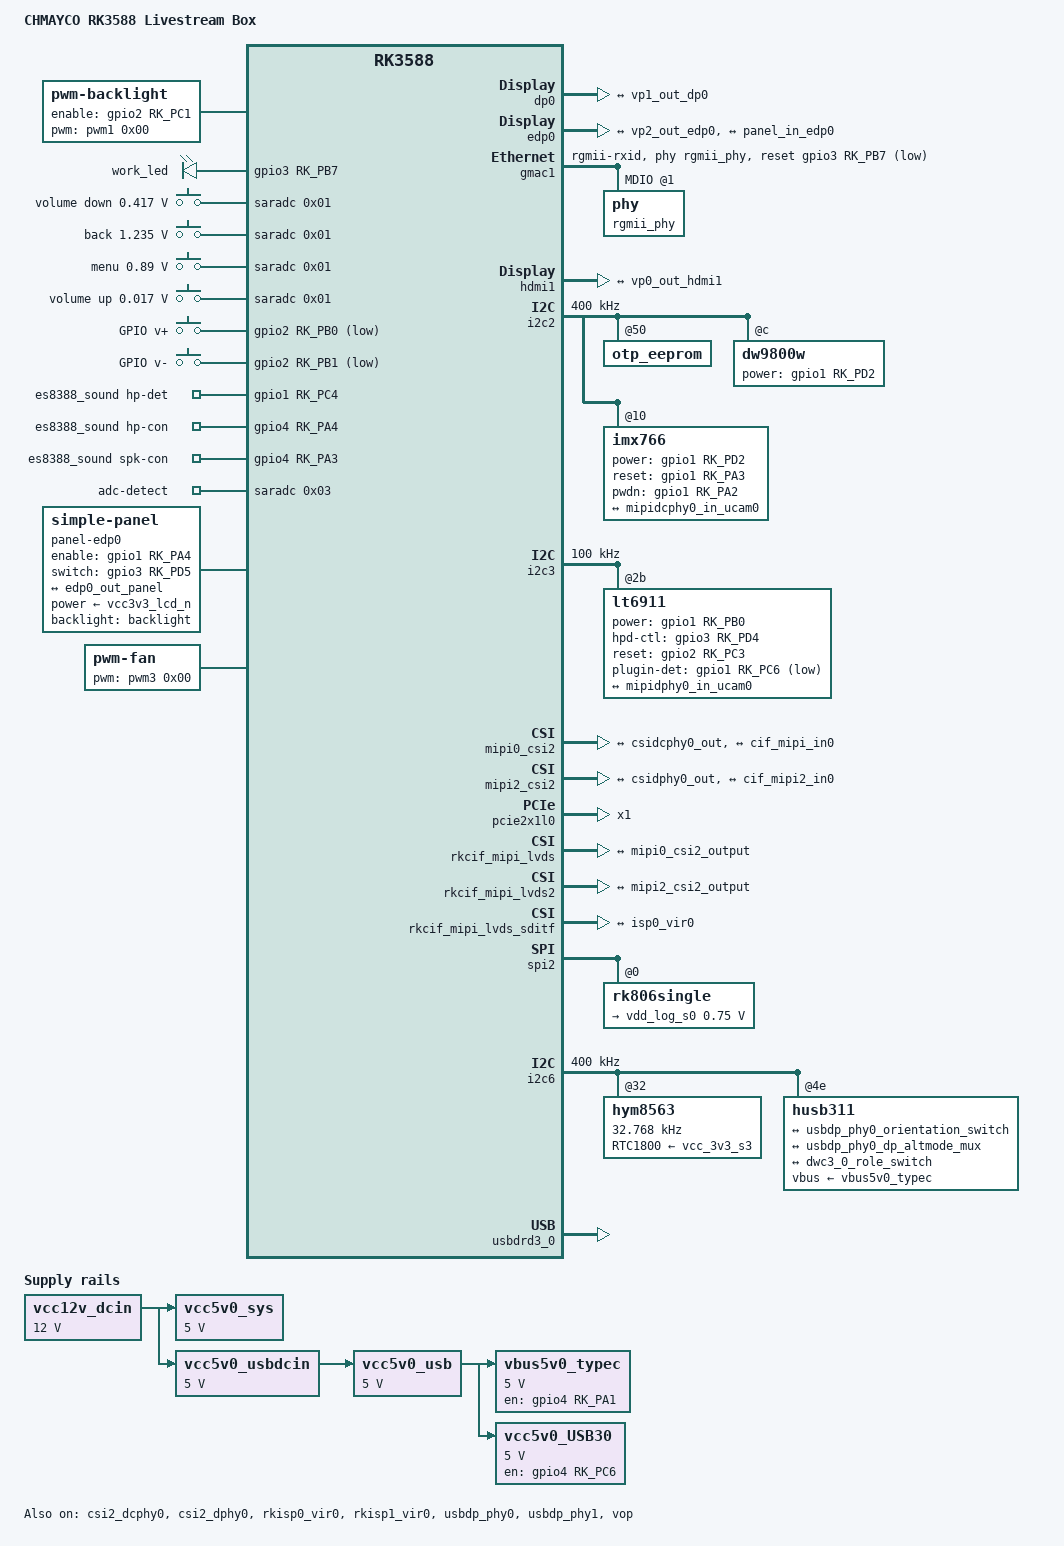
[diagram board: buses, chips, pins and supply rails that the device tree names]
// SPDX-License-Identifier: (GPL-2.0+ OR MIT)
/*
 * RK3588 CHMAYCO (智美科) livestream box -- device tree.
 *
 * Board: CHMAYCO / 智美科 RK3588 livestream unit (SoC model 22011211C).
 *
 * Reconstructed from the factory DTB (runtime /proc/device-tree export,
 * 1503 nodes / 267201 bytes) -- a Rockchip EVB7 reference derivative whose
 * compatible string is "rockchip,rk3588-evb7-lp4-v10".
 *
 * Only what differs from the SoC/EVB baseline is kept:
 *   - nodes this board enables
 *   - nodes whose pinctrl or supplies this board overrides
 *   - pinctrl groups actually referenced by those overrides
 * Everything else -- SoC defaults, disabled nodes, per-die OPP/PVTM tables,
 * power-controller and thermal definitions, Android bootargs -- comes from
 * rk3588.dtsi or is dropped, and is deliberately not repeated here.
 *
 * Recovery applied:
 *   pin cells     -> RK_Pxy / RK_FUNC_xx / &pcfg_xx
 *   gpio cells    -> RK_Pxy / GPIO_ACTIVE_xx
 *   power domains -> RK3588_PD_*
 *   key codes     -> KEY_*
 *   phandle refs  -> &label
 *   voltages / delays / lanes -> decimal
 *
 * Board peripherals: eDP + 2x MIPI DSI out, HDMI1 out, ES8388 codec,
 * GT9xx touch, HUSB311 Type-C PD, LT6911UXC HDMI-in, IMX766 + DW9800W,
 * HY8563 RTC, RK806 PMIC, PWM fan, eMMC A/B layout.
 *
 * Android 12, vendor 5.10 kernel.
 */

/dts-v1/;

#include <dt-bindings/gpio/gpio.h>
#include <dt-bindings/power/rk3588-power.h>
#include <dt-bindings/pwm/pwm.h>
#include <dt-bindings/pinctrl/rockchip.h>
#include <dt-bindings/input/linux-event-codes.h>
#include <dt-bindings/display/drm_mipi_dsi.h>
#include <dt-bindings/usb/pd.h>
#include "rk3588-evb7-lp4.dtsi"
#include "rk3588-linux.dtsi"

/ {
	model = "CHMAYCO RK3588 Livestream Box";
	compatible = "chmayco,rk3588-livestream", "rockchip,rk3588-evb7-lp4-v10", "rockchip,rk3588";

	backlight: backlight {
		compatible = "pwm-backlight";
		status = "okay";
		pwms = <&pwm1 0x00 0xf4240 0x00>;
		brightness-levels = <
			  0  20  20  21  21  22  22  23
			 23  24  24  25  25  26  26  27
			 27  28  28  29  29  30  30  31
			 31  32  32  33  33  34  34  35
			 35  36  36  37  37  38  38  39
			 40  41  42  43  44  45  46  47
			 48  49  50  51  52  53  54  55
			 56  57  58  59  60  61  62  63
			 64  65  66  67  68  69  70  71
			 72  73  74  75  76  77  78  79
			 80  81  82  83  84  85  86  87
			 88  89  90  91  92  93  94  95
			 96  97  98  99 100 101 102 103
			104 105 106 107 108 109 110 111
			112 113 114 115 116 117 118 119
			120 121 122 123 124 125 126 127
			128 129 130 131 132 133 134 135
			136 137 138 139 140 141 142 143
			144 145 146 147 148 149 150 151
			152 153 154 155 156 157 158 159
			160 161 162 163 164 165 166 167
			168 169 170 171 172 173 174 175
			176 177 178 179 180 181 182 183
			184 185 186 187 188 189 190 191
			192 193 194 195 196 197 198 199
			200 201 202 203 204 205 206 207
			208 209 210 211 212 213 214 215
			216 217 218 219 220 221 222 223
			224 225 226 227 228 229 230 231
			232 233 234 235 236 237 238 239
			240 241 242 243 244 245 246 247
			248 249 250 251 252 253 254 255
		>;
		enable-gpios = <&gpio2 RK_PC1 GPIO_ACTIVE_HIGH>;
		pinctrl-names = "default";
		default-brightness-level = <200>;
		pinctrl-0 = <&backlight_en>;
	};
	leds: leds {
		compatible = "gpio-leds";

		work_led: work {
			linux,default-trigger = "heartbeat";
			gpios = <&gpio3 RK_PB7 GPIO_ACTIVE_HIGH>;
		};
	};
	adc_keys: adc-keys {
		compatible = "adc-keys";
		io-channel-names = "buttons";
		keyup-threshold-microvolt = <1800000>;
		io-channels = <&saradc 0x01>;
		poll-interval = <100>;

		vol-down-key {
			linux,code = <KEY_VOLUMEDOWN>;
			press-threshold-microvolt = <417000>;
			label = "volume down";
		};

		back-key {
			linux,code = <158>;	/* vendor key */
			press-threshold-microvolt = <1235000>;
			label = "back";
		};

		menu-key {
			linux,code = <139>;	/* vendor key */
			press-threshold-microvolt = <890000>;
			label = "menu";
		};

		vol-up-key {
			linux,code = <KEY_VOLUMEUP>;
			press-threshold-microvolt = <17000>;
			label = "volume up";
		};
	};
	dp1_sound: dp1-sound {
		compatible = "rockchip,hdmi";
		status = "disabled";
		rockchip,mclk-fs = <512>;
		rockchip,jack-det;
		rockchip,codec = <&dp1 &gic>;
		rockchip,card-name = "rockchip,dp1";
		rockchip,cpu = <&spdif_tx5>;
	};
	rkisp_unite: rkisp-unite@fdcb0000 {
		compatible = "rockchip,rk3588-rkisp-unite";
		status = "disabled";
	};
	rkisp_unite_mmu: rkisp-unite-mmu@fdcb7f00 {
		compatible = "rockchip,iommu-v2";
		status = "disabled";
		rockchip,disable-mmu-reset;
	};
	gpio_keys: gpio-keys {
		compatible = "gpio-keys";
		autorepeat;
		pinctrl-names = "default";
		pinctrl-0 = <&gpiobtn>;

		KEY_up {
			linux,code = <KEY_VOLUMEUP>;
			label = "GPIO v+";
			gpios = <&gpio2 RK_PB0 GPIO_ACTIVE_LOW>;
			debounce-interval = <0x64>;
		};

		KEY_dn {
			linux,code = <KEY_VOLUMEDOWN>;
			label = "GPIO v-";
			gpios = <&gpio2 RK_PB1 GPIO_ACTIVE_LOW>;
			debounce-interval = <0x64>;
		};
	};
	vcc12v_dcin: vcc12v-dcin {
		compatible = "regulator-fixed";
		regulator-boot-on;
		regulator-min-microvolt = <12000000>;
		regulator-always-on;
		regulator-name = "vcc12v_dcin";
		regulator-max-microvolt = <12000000>;
	};
	vbus5v0_typec: vbus5v0-typec {
		compatible = "regulator-fixed";
		gpio = <&gpio4 RK_PA1 GPIO_ACTIVE_HIGH>;
		regulator-min-microvolt = <5000000>;
		vin-supply = <&vcc5v0_usb>;
		enable-active-high;
		regulator-name = "vbus5v0_typec";
		pinctrl-names = "default";
		pinctrl-0 = <&typec5v_pwren>;
		regulator-max-microvolt = <5000000>;
	};
	hdmi1_sound: hdmi1-sound {
		compatible = "rockchip,hdmi";
		status = "okay";
		rockchip,mclk-fs = <128>;
		rockchip,jack-det;
		rockchip,codec = <&hdmi1>;
		rockchip,card-name = "rockchip-hdmi1";
		rockchip,cpu = <&i2s6_8ch>;
	};
	es8388_sound: es8388-sound {
		compatible = "rockchip,multicodecs-card";
		status = "okay";
		rockchip,mclk-fs = <256>;
		io-channel-names = "adc-detect";
		keyup-threshold-microvolt = <1800000>;
		hp-det-gpio = <&gpio1 RK_PC4 GPIO_ACTIVE_HIGH>;
		rockchip,audio-routing = 
			"Headphone", "LOUT1", 
			"Headphone", "ROUT1", 
			"Speaker", "LOUT2", 
			"Speaker", "ROUT2", 
			"Headphone", "Headphone Power", 
			"Headphone", "Headphone Power", 
			"Speaker", "Speaker Power", 
			"Speaker", "Speaker Power", 
			"LINPUT1", "Main Mic", 
			"LINPUT2", "Main Mic", 
			"RINPUT1", "Headset Mic", 
			"RINPUT2", "Headset Mic";
		hp-con-gpio = <&gpio4 RK_PA4 GPIO_ACTIVE_HIGH>;
		spk-con-gpio = <&gpio4 RK_PA3 GPIO_ACTIVE_HIGH>;
		rockchip,codec = <&es8388>;
		rockchip,format = "i2s";
		io-channels = <&saradc 0x03>;
		rockchip,card-name = "rockchip-es8388";
		pinctrl-names = "default";
		pinctrl-0 = <&hp_det>;
		rockchip,cpu = <&i2s0_8ch>;
		poll-interval = <100>;

		play-pause-key {
			linux,code = <KEY_PLAYPAUSE>;
			press-threshold-microvolt = <2000>;
			label = "playpause";
		};
	};
	vcc5v0_sys: vcc5v0-sys {
		compatible = "regulator-fixed";
		regulator-boot-on;
		regulator-min-microvolt = <5000000>;
		vin-supply = <&vcc12v_dcin>;
		regulator-always-on;
		regulator-name = "vcc5v0_sys";
		regulator-max-microvolt = <5000000>;
	};
	vcc5v0_USB30: vcc5v0-USB30 {
		compatible = "regulator-fixed";
		regulator-boot-on;
		gpio = <&gpio4 RK_PC6 GPIO_ACTIVE_HIGH>;
		regulator-min-microvolt = <5000000>;
		vin-supply = <&vcc5v0_usb>;
		enable-active-high;
		regulator-always-on;
		regulator-name = "vcc5v0_USB30";
		pinctrl-names = "default";
		pinctrl-0 = <&vcc5v0_USB30_en>;
		regulator-max-microvolt = <5000000>;
	};
	rk_headset: rk-headset {
		compatible = "rockchip_headset";
		status = "disabled";
		io-channels = <&saradc 0x03>;
		pinctrl-names = "default";
		pinctrl-0 = <&hp_det>;
		headset_gpio = <&gpio1 RK_PD5 GPIO_ACTIVE_LOW>;
	};
	vcc5v0_usbdcin: vcc5v0-usbdcin {
		compatible = "regulator-fixed";
		regulator-boot-on;
		regulator-min-microvolt = <5000000>;
		vin-supply = <&vcc12v_dcin>;
		regulator-always-on;
		regulator-name = "vcc5v0_usbdcin";
		regulator-max-microvolt = <5000000>;
	};
	panel-edp0 {
		compatible = "simple-panel";
		backlight = <&backlight>;
		unprepare-delay-ms = <0x78>;
		enable-delay-ms = <0x78>;
		disable-delay-ms = <120>;
		prepare-delay-ms = <0x78>;
		enable-gpios = <&gpio1 RK_PA4 GPIO_ACTIVE_HIGH>;
		switch-gpios = <&gpio3 RK_PD5 GPIO_ACTIVE_HIGH>;
		power-supply = <&vcc3v3_lcd_n>;

		port {

			panel_in_edp0: endpoint {
				remote-endpoint = <&edp0_out_panel>;
			};
		};

		panel-timing {
			vback-porch = <71>;
			hsync-active = <0x00>;
			de-active = <0x00>;
			vfront-porch = <3>;
			hactive = <0x780>;
			clock-frequency = <152570000>;
			vsync-active = <0x00>;
			vactive = <1080>;
			vsync-len = <6>;
			hfront-porch = <48>;
			hsync-len = <32>;
			hback-porch = <192>;
			pixelclk-active = <0x00>;
		};
	};
	reserved-memory {
		ranges;

		drm-logo@00000000 {
		};

		drm-cubic-lut@00000000 {
		};

		cma {
			size = <0x00 0x800000>;
			reusable;
			linux,cma-default;
		};
	};
	vcc5v0_usb: vcc5v0-usb {
		compatible = "regulator-fixed";
		regulator-boot-on;
		regulator-min-microvolt = <5000000>;
		vin-supply = <&vcc5v0_usbdcin>;
		regulator-always-on;
		regulator-name = "vcc5v0_usb";
		regulator-max-microvolt = <5000000>;
	};
	fan: pwm-fan {
		compatible = "pwm-fan";
		#cooling-cells = <2>;
		pwms = <&pwm3 0x00 0xc350 0x00>;
	};
	hdmi0_sound: hdmi0-sound {
		compatible = "rockchip,hdmi";
		status = "disabled";
		rockchip,mclk-fs = <128>;
		rockchip,jack-det;
		rockchip,codec = <&hdmi0>;
		rockchip,card-name = "rockchip-hdmi0";
		rockchip,cpu = <&i2s5_8ch>;
	};
	dp0_sound: dp0-sound {
		compatible = "rockchip,hdmi";
		status = "okay";
		rockchip,mclk-fs = <512>;
		rockchip,jack-det;
		rockchip,codec = <&dp0 &gic>;
		rockchip,card-name = "rockchip,dp0";
		rockchip,cpu = <&spdif_tx2>;
	};
};

&csi2_dcphy0 {
		status = "okay";

		ports {

			port@0 {

				mipidcphy0_in_ucam0: endpoint@0 {
					data-lanes = <1 2 3>;
					remote-endpoint = <&imx766_out>;
					bus-type = <1>;
				};
			};

			port@1 {

				csidcphy0_out: endpoint@0 {
					remote-endpoint = <&mipi0_csi2_input>;
				};
			};
		};
};

&csi2_dphy0 {
		status = "okay";
		rockchip,hw = <&csi2_dphy0_hw>;

		ports {

			port@0 {

				mipidphy0_in_ucam0: endpoint@1 {
					data-lanes = <1 2 3 4>;
					remote-endpoint = <&lt6911_out0>;
				};
			};

			port@1 {

				csidphy0_out: endpoint@0 {
					remote-endpoint = <&mipi2_csi2_input>;
				};
			};
		};
};

&dp0 {
		status = "okay";

		ports {

			port@0 {
				endpoint@1 {
					status = "okay";
					remote-endpoint = <&vp1_out_dp0>;
				};
			};
		};
};

&edp0 {
		status = "okay";
		force-hpd;

		ports {

			port@0 {
				endpoint@2 {
					status = "okay";
					remote-endpoint = <&vp2_out_edp0>;
				};
			};

			port@1 {

				edp0_out_panel: endpoint {
					remote-endpoint = <&panel_in_edp0>;
				};
			};
		};
};

&gmac1 {
		snps,reset-gpio = <&gpio3 RK_PB7 GPIO_ACTIVE_LOW>;
		status = "okay";
		phy-handle = <&rgmii_phy>;
		local-mac-address = [aa 64 5f 7a a0 21];
		snps,mixed-burst;
		snps,reset-active-low;
		snps,mtl-tx-config = <&gmac1_mtl_tx_setup>;
		snps,tso;
		clock_in_out = "output";
		snps,mtl-rx-config = <&gmac1_mtl_rx_setup>;
		snps,axi-config = <&gmac1_stmmac_axi_setup>;
		rockchip,php_grf = <&php_grf>;
		snps,reset-delays-us = <0x00 0x4e20 0x186a0>;
		tx_delay = <2>;
		pinctrl-names = "default";
		pinctrl-0 = <&gmac1_miim &gmac1_tx_bus2 &gmac1_rx_bus2 &gmac1_rgmii_clk &gmac1_rgmii_bus>;
		phy-mode = "rgmii-rxid";

		mdio {

			rgmii_phy: phy@1 {
			};
		};

		tx-queues-config {
			snps,tx-queues-to-use = <2>;

			queue1 {
			};

			queue0 {
			};
		};

		stmmac-axi-config {
			snps,wr_osr_lmt = <4>;
			snps,blen = <0x00 0x00 0x00 0x00 0x10 0x08 0x04>;
			snps,rd_osr_lmt = <8>;
		};

		rx-queues-config {
			snps,rx-queues-to-use = <2>;

			queue1 {
			};

			queue0 {
			};
		};
};

&hdmi1 {
		status = "okay";
		rockchip,vo1_grf = <&vo1_grf>;
		enable-gpios = <&gpio4 RK_PB2 GPIO_ACTIVE_HIGH>;
		pinctrl-names = "default";
		pinctrl-0 = <&hdmim2_tx1_cec &hdmim0_tx1_hpd &hdmim1_tx1_scl &hdmim1_tx1_sda>;

		ports {

			port@0 {

				endpoint@0 {
					status = "okay";
					remote-endpoint = <&vp0_out_hdmi1>;
				};
			};
		};
};

&i2c2 {
		status = "okay";
		clock-frequency = <400000>;
		pinctrl-names = "default";
		pinctrl-0 = <&i2c2m4_xfer>;

		otp_eeprom: otp_eeprom@50 {
			status = "okay";
		};

		dw9800w: dw9800w@c {
			rockchip,vcm-rated-current = <805>;
			rockchip,vcm-step-mode = <1>;
			status = "okay";
			rockchip,vcm-start-current = <205>;
			rockchip,camera-module-index = <0>;
			power-gpios = <&gpio1 RK_PD2 GPIO_ACTIVE_HIGH>;
			rockchip,vcm-t-div = <1>;
			rockchip,vcm-max-current = <1023>;
			rockchip,camera-module-facing = "back";
			rockchip,vcm-t-src = <37>;
		};

		imx766: imx766@10 {
			status = "okay";
			lens-focus = <&dw9800w>;
			rockchip,camera-module-index = <0>;
			rockchip,camera-module-lens-name = "IR0147-50IRC-8M-F20";
			eeprom-ctrl = <&otp_eeprom>;
			rockchip,camera-module-name = "CMK-OT2022-PX1";
			power-gpios = <&gpio1 RK_PD2 GPIO_ACTIVE_HIGH>;
			rockchip,spd-id = <1>;
			reset-gpios = <&gpio1 RK_PA3 GPIO_ACTIVE_HIGH>;
			pinctrl-names = "default";
			rockchip,camera-module-facing = "back";
			pinctrl-0 = <&mipim0_camera1_clk>;
			pwdn-gpios = <&gpio1 RK_PA2 GPIO_ACTIVE_HIGH>;

			port {

				imx766_out: endpoint {
					data-lanes = <1 2 3>;
					remote-endpoint = <&mipidcphy0_in_ucam0>;
					bus-type = <1>;
				};
			};
		};
};

&i2c3 {
		status = "okay";
		clock-frequency = <100000>;
		pinctrl-names = "default";
		pinctrl-0 = <&i2c3m0_xfer>;

		lt6911: lt6911@2b {
			status = "okay";
			rockchip,camera-module-index = <0>;
			rockchip,camera-module-lens-name = "IR0147-50IRC-8M-F20";
			rockchip,camera-module-name = "CMK-OT2022-PX1";
			power-gpios = <&gpio1 RK_PB0 GPIO_ACTIVE_HIGH>;
			hpd-ctl-gpios = <&gpio3 RK_PD4 GPIO_ACTIVE_HIGH>;
			reset-gpios = <&gpio2 RK_PC3 GPIO_ACTIVE_HIGH>;
			pinctrl-names = "default";
			rockchip,camera-module-facing = "back";
			pinctrl-0 = <&lt6911_default>;
			plugin-det-gpios = <&gpio1 RK_PC6 GPIO_ACTIVE_LOW>;

			port {

				lt6911_out0: endpoint {
					data-lanes = <1 2 3 4>;
					remote-endpoint = <&mipidphy0_in_ucam0>;
				};
			};
		};
};

&mipi0_csi2 {
		status = "okay";

		ports {

			port@0 {

				mipi0_csi2_input: endpoint@1 {
					remote-endpoint = <&csidcphy0_out>;
				};
			};

			port@1 {

				mipi0_csi2_output: endpoint@0 {
					remote-endpoint = <&cif_mipi_in0>;
				};
			};
		};
};

&mipi2_csi2 {
		status = "okay";

		ports {

			port@0 {

				mipi2_csi2_input: endpoint@1 {
					remote-endpoint = <&csidphy0_out>;
				};
			};

			port@1 {

				mipi2_csi2_output: endpoint@0 {
					remote-endpoint = <&cif_mipi2_in0>;
				};
			};
		};
};

&pcie2x1l0 {
		bus-range = <0x20 0x2f>;
		status = "okay";
		linux,pci-domain = <3>;
		rockchip,pipe-grf = <&php_grf>;
		max-link-speed = <2>;
		interrupt-map-mask = <0x00 0x00 0x00 0x07>;
		interrupt-map = <0x00 0x00 0x00 0x01 0x1ad 0x00 0x00 0x00 0x00 0x02 0x1ad 0x01 0x00 0x00 0x00 0x03 0x1ad 0x02 0x00 0x00 0x00 0x04 0x1ad 0x03>;
		num-lanes = <1>;
		num-ib-windows = <8>;
		num-ob-windows = <8>;
		num-viewport = <4>;
		ranges = <0x800 0x00 0xf2000000 0x00 0xf2000000 0x00 0x100000 0x81000000 0x00 0xf2100000 0x00 0xf2100000 0x00 0x100000 0x82000000 0x00 0xf2200000 0x00 0xf2200000 0x00 0xe00000 0xc3000000 0x09 0x80000000 0x09 0x80000000 0x00 0x40000000>;
		msi-map = <0x2000 0xf9 0x2000 0x1000>;

		legacy-interrupt-controller {
			interrupt-controller;
		};
};

&rkcif_mipi_lvds {
		status = "okay";
		rockchip,hw = <&rkcif>;

		port {

			cif_mipi_in0: endpoint {
				remote-endpoint = <&mipi0_csi2_output>;
			};
		};
};

&rkcif_mipi_lvds2 {
		status = "okay";
		rockchip,hw = <&rkcif>;

		port {

			cif_mipi2_in0: endpoint {
				remote-endpoint = <&mipi2_csi2_output>;
			};
		};
};

&rkcif_mipi_lvds_sditf {
		status = "okay";
		rockchip,cif = <&rkcif_mipi_lvds>;

		port {

			mipi_lvds_sditf: endpoint {
				remote-endpoint = <&isp0_vir0>;
			};
		};
};

&rkisp0_vir0 {
		status = "okay";
		rockchip,hw = <&rkisp0>;

		port {

			isp0_vir0: endpoint@0 {
				remote-endpoint = <&mipi_lvds_sditf>;
			};
		};
};

&rkisp1_vir0 {
		status = "okay";
		rockchip,hw = <&rkisp1>;

		port {

			endpoint@0 {
				remote-endpoint = <&mipi_lvds_sditf>;
			};
		};
};

&spi2 {
	status = "okay";
	pinctrl-names = "default";
	pinctrl-0 = <&spi2m2_cs0 &spi2m2_pins>;

	rk806single@0 {
		/* 本机 PMIC 差异：reset-func 用默认 1；DVS 引脚需要下拉 */
		pinctrl-names = "default", "pmic-power-off";
		pinctrl-0 = <&pmic_pins &rk806_dvs1_null &rk806_dvs2_null &rk806_dvs3_null>;
		pinctrl-1 = <&rk806_dvs1_pwrdn>;
		/* 与 rk3588-rk806-single.dtsi 的差异项 */
		low_voltage_threshold = <3000>;
		shutdown_voltage_threshold = <2700>;
		shutdown_temperture_threshold = <160>;
		hotdie_temperture_threshold = <115>;

		pinctrl_rk806 {
			gpio-controller;
			#gpio-cells = <0x02>;
			rk806_dvs3_null: rk806_dvs3_null {
				function = "pin_fun0";
				pins = "gpio_pwrctrl3";
			};
			rk806_dvs3_rst {
				function = "pin_fun3";
				pins = "gpio_pwrctrl3";
			};
			rk806_dvs1_null: rk806_dvs1_null {
				function = "pin_fun0";
				pins = "gpio_pwrctrl2";
			};
			rk806_dvs1_slp {
				function = "pin_fun1";
				pins = "gpio_pwrctrl1";
			};
			rk806_dvs2_null: rk806_dvs2_null {
				function = "pin_fun0";
				pins = "gpio_pwrctrl2";
			};
			rk806_dvs2_rst {
				function = "pin_fun3";
				pins = "gpio_pwrctrl2";
			};
			rk806_dvs2_gpio {
				function = "pin_fun5";
				pins = "gpio_pwrctrl2";
			};
			rk806_dvs3_gpio {
				function = "pin_fun5";
				pins = "gpio_pwrctrl3";
			};
			rk806_dvs2_slp {
				function = "pin_fun1";
				pins = "gpio_pwrctrl2";
			};
			rk806_dvs1_pwrdn: rk806_dvs1_pwrdn {
				function = "pin_fun2";
				pins = "gpio_pwrctrl1";
			};
			rk806_dvs1_rst {
				function = "pin_fun3";
				pins = "gpio_pwrctrl1";
			};
			rk806_dvs3_dvs {
				function = "pin_fun4";
				pins = "gpio_pwrctrl3";
			};
			rk806_dvs3_pwrdn {
				function = "pin_fun2";
				pins = "gpio_pwrctrl3";
			};
			rk806_dvs2_dvs {
				function = "pin_fun4";
				pins = "gpio_pwrctrl2";
			};
			rk806_dvs3_slp {
				function = "pin_fun1";
				pins = "gpio_pwrctrl3";
			};
			rk806_dvs2_pwrdn {
				function = "pin_fun2";
				pins = "gpio_pwrctrl2";
			};
		};

		regulators {
			vdd_gpu_s0: vdd_gpu_mem_s0: DCDC_REG1 {
				regulator-enable-ramp-delay = <0>;
			};

			vdd_cpu_lit_s0: vdd_cpu_lit_mem_s0: DCDC_REG2 {
				/delete-property/ regulator-init-microvolt;
			};

			vdd_log_s0: DCDC_REG3 {
				regulator-max-microvolt = <750000>;
			};
		};
	};
};

&usbdp_phy0 {
		status = "okay";
		rockchip,usbdpphy-grf = <&usbdpphy0_grf>;
		rockchip,usb-grf = <&usb_grf>;
		sbu2-dc-gpios = <&gpio4 RK_PA7 GPIO_ACTIVE_HIGH>;
		svid = <0xff01>;
		orientation-switch;
		sbu1-dc-gpios = <&gpio4 RK_PA6 GPIO_ACTIVE_HIGH>;
		rockchip,vo-grf = <&vo0_grf>;
		rockchip,u2phy-grf = <&usb2phy0_grf>;

		u3-port {
			status = "okay";
		};

		dp-port {
			status = "okay";
		};

		port {

			usbdp_phy0_orientation_switch: endpoint@0 {
				remote-endpoint = <&usbc0_orien_sw>;
			};

			usbdp_phy0_dp_altmode_mux: endpoint@1 {
				remote-endpoint = <&dp_altmode_mux>;
			};
		};
};

&usbdp_phy1 {
		status = "okay";
		rockchip,dp-lane-mux = <0x02 0x03>;
		rockchip,usbdpphy-grf = <&usbdpphy1_grf>;
		rockchip,usb-grf = <&usb_grf>;
		rockchip,vo-grf = <&vo0_grf>;
		rockchip,u2phy-grf = <&usb2phy1_grf>;

		u3-port {
			status = "okay";
		};

		dp-port {
			status = "disabled";
		};
};

&vop {
		status = "okay";
		rockchip,vo1-grf = <&vo1_grf>;
		rockchip,vop-grf = <&vop_grf>;
		support-multi-area;

		ports {

			port@0 {
				rockchip,plane-mask = <0x05>;
				rockchip,primary-plane = <0x02>;

				endpoint@0 {
					remote-endpoint = <&dp0_in_vp0>;
				};

				endpoint@2 {
					remote-endpoint = <&hdmi0_in_vp0>;
				};

				endpoint@1 {
					remote-endpoint = <&edp0_in_vp0>;
				};

				endpoint@5 {
					remote-endpoint = <&hdmi1_in_vp0>;
				};

				endpoint@4 {
					remote-endpoint = <&edp1_in_vp0>;
				};

				endpoint@3 {
					remote-endpoint = <&dp1_in_vp0>;
				};
			};

			port@1 {
				rockchip,plane-mask = <0x0a>;
				rockchip,primary-plane = <0x03>;

				endpoint@0 {
					remote-endpoint = <&dp0_in_vp1>;
				};

				endpoint@2 {
					remote-endpoint = <&hdmi0_in_vp1>;
				};

				endpoint@1 {
					remote-endpoint = <&edp0_in_vp1>;
				};

				endpoint@5 {
					remote-endpoint = <&hdmi1_in_vp1>;
				};

				endpoint@4 {
					remote-endpoint = <&edp1_in_vp1>;
				};

				endpoint@3 {
					remote-endpoint = <&dp1_in_vp1>;
				};
			};

			port@2 {
				rockchip,plane-mask = <0x140>;
				rockchip,primary-plane = <0x08>;

				endpoint@0 {
					remote-endpoint = <&dp0_in_vp2>;
				};

				endpoint@2 {
					remote-endpoint = <&hdmi0_in_vp2>;
				};

				endpoint@7 {
					remote-endpoint = <&hdmi1_in_vp2>;
				};

				endpoint@6 {
					remote-endpoint = <&edp1_in_vp2>;
				};

				endpoint@1 {
					remote-endpoint = <&edp0_in_vp2>;
				};

				endpoint@5 {
					remote-endpoint = <&dp1_in_vp2>;
				};

				endpoint@4 {
					remote-endpoint = <&dsi1_in_vp2>;
				};

				endpoint@3 {
					remote-endpoint = <&dsi0_in_vp2>;
				};
			};

			port@3 {
				rockchip,plane-mask = <0x280>;
				rockchip,primary-plane = <0x09>;

				endpoint@0 {
					remote-endpoint = <&dsi0_in_vp3>;
				};

				endpoint@2 {
					remote-endpoint = <&rgb_in_vp3>;
				};

				endpoint@1 {
					remote-endpoint = <&dsi1_in_vp3>;
				};
			};
		};
};

&pinctrl {
	buttons {
		gpiobtn: gpiobtn {
			rockchip,pins = <2 RK_PB0 RK_FUNC_GPIO &pcfg_pull_up>,
				<2 RK_PB1 RK_FUNC_GPIO &pcfg_pull_up>,
				<2 RK_PB2 RK_FUNC_GPIO &pcfg_pull_up>,
				<2 RK_PB3 RK_FUNC_GPIO &pcfg_pull_up>;
		};
	};

	usb-typec {
		typec5v_pwren: typec5v-pwren {
			rockchip,pins = <4 RK_PA1 RK_FUNC_GPIO &pcfg_pull_none>;
		};
		usbc0_int: usbc0-int {
			rockchip,pins = <0 RK_PD3 RK_FUNC_GPIO &pcfg_pull_up>;
		};
	};

	hym8563 {
		hym8563_int: hym8563-int {
			rockchip,pins = <0 RK_PB0 RK_FUNC_GPIO &pcfg_pull_up>;
		};
	};

	lt6911 {
		lt6911_default: lt6911default {
			rockchip,pins = <1 RK_PA7 RK_FUNC_GPIO &pcfg_pull_up>,
				<1 RK_PB0 RK_FUNC_GPIO &pcfg_pull_down>,
				<2 RK_PC3 RK_FUNC_GPIO &pcfg_pull_down>,
				<1 RK_PC6 RK_FUNC_GPIO &pcfg_pull_none>,
				<3 RK_PD4 RK_FUNC_GPIO &pcfg_pull_down>;
		};
	};

	gpio-func {
		tsadc_gpio_func: tsadc-gpio-func {
			rockchip,pins = <0 RK_PA1 RK_FUNC_GPIO &pcfg_pull_none>;
		};
	};

	usb {
		vcc5v0_USB30_en: vcc5v0-USB30-en {
			rockchip,pins = <4 RK_PC6 RK_FUNC_GPIO &pcfg_pull_none>;
		};
	};

	headphone {
		hp_det: hp-det {
			rockchip,pins = <1 RK_PC4 RK_FUNC_GPIO &pcfg_pull_none>;
		};
	};

	backlight_ctl {
		backlight_en: backlight-en {
			rockchip,pins = <2 RK_PC1 RK_FUNC_GPIO &pcfg_pull_down>;
		};
	};

	uart9 {
		uart9m0_rtsn: uart9m0-rtsn {
			rockchip,pins = <4 RK_PC4 10 &pcfg_pull_none>;
		};
		uart9m0_xfer: uart9m0-xfer {
			rockchip,pins = <2 RK_PC4 10 &pcfg_pull_up>,
				<2 RK_PC2 10 &pcfg_pull_up>;
		};
		uart9m0_ctsn: uart9m0-ctsn {
			rockchip,pins = <4 RK_PC5 10 &pcfg_pull_none>;
		};
	};
};

/* ==== restored: endpoint / supply / chip targets ==== */

&i2c6 {
		status = "okay";
		clock-frequency = <400000>;
		pinctrl-names = "default";
		pinctrl-0 = <&i2c6m0_xfer>;

		hym8563@32 {
			status = "okay";
			clock-frequency = <32768>;
			RTC1800-supply = <&vcc_3v3_s3>;
			wakeup-source;
			clock-output-names = "hym8563";
			pinctrl-names = "default";
			pinctrl-0 = <&hym8563_int>;
		};

		husb311@4e {
			status = "okay";
			vbus-supply = <&vbus5v0_typec>;
			pinctrl-names = "default";
			pinctrl-0 = <&usbc0_int>;

			connector {
				data-role = "dual";
				source-pdos = <0x401912c>;
				label = "USB-C";
				power-role = "dual";
				try-power-role = "sink";
				sink-pdos = <0x4019064>;
				op-sink-microwatt = <0xf4240>;

				ports {

					port@0 {

						usbc0_orien_sw: endpoint {
							remote-endpoint = <&usbdp_phy0_orientation_switch>;
						};
					};

					port@1 {

						dp_altmode_mux: endpoint {
							remote-endpoint = <&usbdp_phy0_dp_altmode_mux>;
						};
					};
				};

				altmodes {

					altmode@0 {
						vdo = <0xffffffff>;
						svid = <0xff01>;
					};
				};
			};

			ports {

				port@0 {

					usbc0_role_sw: endpoint@0 {
						remote-endpoint = <&dwc3_0_role_switch>;
					};
				};
			};
		};
};

&usbdrd3_0 {
		status = "okay";
		ranges;

		usb@fc000000 {
			status = "okay";
			snps,dis-u1-entry-quirk;
			snps,dis_enblslpm_quirk;
			quirk-skip-phy-init;
			snps,dis-u2-freeclk-exists-quirk;
			snps,dis-del-phy-power-chg-quirk;
			usb-role-switch;
			snps,dis-tx-ipgap-linecheck-quirk;
			snps,dis-u2-entry-quirk;
			dr_mode = "otg";
			phy_type = "utmi_wide";

			port {

				dwc3_0_role_switch: endpoint@0 {
					remote-endpoint = <&usbc0_role_sw>;
				};
			};
		};
};
